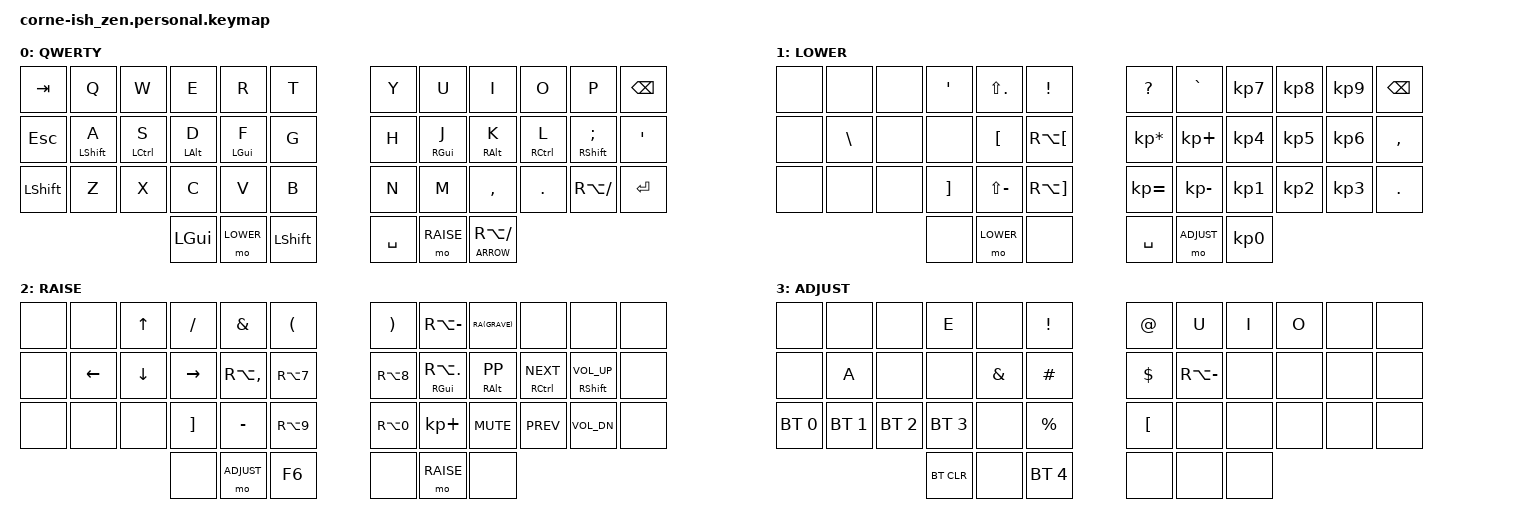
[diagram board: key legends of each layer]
/*
*
* Copyright (c) 2021 lowprokb.ca
* SPDX-License-Identifier: MIT
*
*/

#include <behaviors.dtsi>
#include <dt-bindings/zmk/keys.h>
#include <dt-bindings/zmk/bt.h>

#define QWERTY 0
#define LOWER 1
#define RAISE 2
#define ADJUST 3

/ {
        keymap {
                compatible = "zmk,keymap";

                default_layer {
                        label = "QWERTY";
                        bindings = <
   &kp TAB   &kp Q       &kp W      &kp E      &kp R      &kp T        &kp Y   &kp U      &kp I              &kp O      &kp P          &kp BKSP
   &kp ESC   &mt LSHFT A &mt LCTL S &mt LALT D &mt LGUI F &kp G        &kp H   &mt RGUI J &mt RALT K         &mt RCTL L &mt RSHFT SEMI &kp QUOT
   &kp LSHFT &kp Z       &kp X      &kp C      &kp V      &kp B        &kp N   &kp M      &kp CMMA           &kp DOT    &kp RA(FSLH)   &kp ENTER
                                    &kp LGUI   &mo LOWER  &kp LSHFT    &kp SPC &mo RAISE  &mt ARROW RA(FSLH)
                        >;
                };

                lower_layer {
                        label = "LOWER";
                        bindings = <
   &none &none    &none &kp QUOT &kp LS(DOT)   &kp EXCL        &kp QMARK       &kp GRAVE    &kp KP_N7 &kp KP_N8 &kp KP_N9 &kp BKSP
   &none &kp BSLH &none &none    &kp LBKT      &kp RA(LBKT)    &kp KP_ASTERISK &kp KP_PLUS  &kp KP_N4 &kp KP_N5 &kp KP_N6 &kp CMMA
   &none &none    &none &kp RBKT &kp LS(MINUS) &kp RA(RBKT)    &kp KP_EQUAL    &kp KP_MINUS &kp KP_N1 &kp KP_N2 &kp KP_N3 &kp DOT
                        &none    &mo LOWER     &none           &kp SPC         &mo ADJUST   &kp KP_N0
                        >;
                };

                raise_layer {
                        label = "RAISE";
                        bindings = <
   &none &none    &kp UP   &kp FSLH  &kp AMPS     &kp LPAR      &kp RPAR   &kp RA(MINUS)    &RA(GRAVE)    &none           &none              &none
   &none &kp LEFT &kp DOWN &kp RIGHT &kp RA(CMMA) &kp RA(N7)    &kp RA(N8) &mt RGUI RA(DOT) &mt RALT K_PP &mt RCTL K_NEXT &mt RSHFT K_VOL_UP &none
   &none &none    &none    &kp RBKT  &kp MINUS    &kp RA(N9)    &kp RA(N0) &kp KP_PLUS      &kp K_MUTE    &kp K_PREV      &kp K_VOL_DN       &none
                           &none     &mo ADJUST   &kp F6        &none      &mo RAISE        &none
                        >;
                };

                adjust_layer {
                        label = "ADJUST";
                        bindings = <
   &none        &none        &none        &kp E        &none    &kp EXCL        &kp AT   &kp U         &kp I &kp O &none &none
   &none        &kp A        &none        &none        &kp AMPS &kp HASH        &kp DLLR &kp RA(MINUS) &none &none &none &none
   &bt BT_SEL 0 &bt BT_SEL 1 &bt BT_SEL 2 &bt BT_SEL 3 &none    &kp PRCNT       &kp LBKT &none         &none &none &none &none
                                          &bt BT_CLR   &none    &bt BT_SEL 4    &none    &none         &none
                        >;
                };
        };
};
